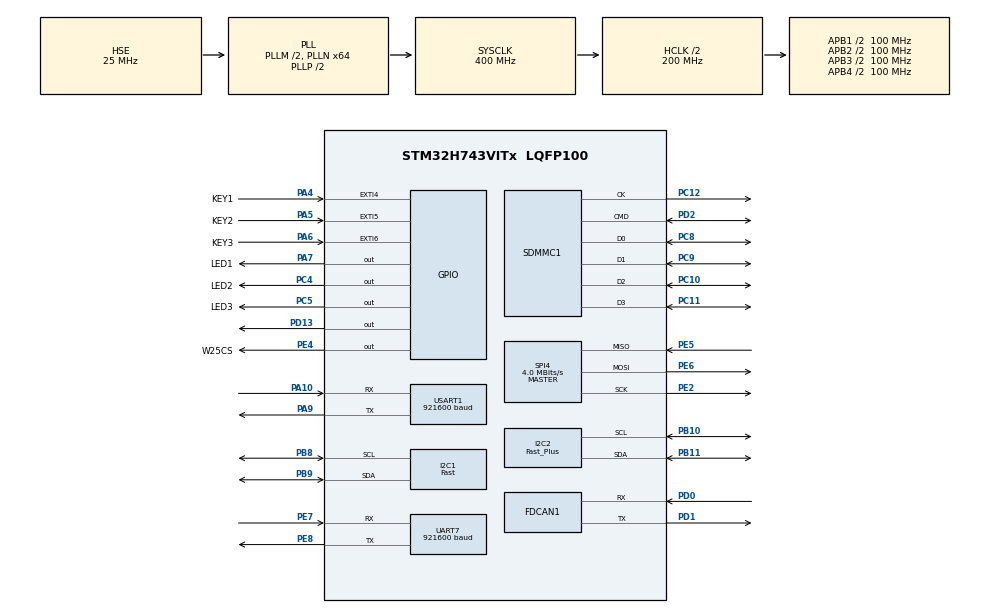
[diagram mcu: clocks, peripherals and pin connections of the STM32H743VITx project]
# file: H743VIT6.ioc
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CORTEX_M7.CPU_DCache=Enabled
CORTEX_M7.CPU_ICache=Enabled
CORTEX_M7.Enable_Spec=__NULL
CORTEX_M7.MPU_Control=__NULL
CORTEX_M7.default_mode_Activation=1
Dma.I2C1_RX.2.Direction=DMA_PERIPH_TO_MEMORY
Dma.I2C1_RX.2.EventEnable=DISABLE
Dma.I2C1_RX.2.FIFOMode=DMA_FIFOMODE_DISABLE
Dma.I2C1_RX.2.Instance=DMA1_Stream2
Dma.I2C1_RX.2.MemDataAlignment=DMA_MDATAALIGN_BYTE
Dma.I2C1_RX.2.MemInc=DMA_MINC_ENABLE
Dma.I2C1_RX.2.Mode=DMA_NORMAL
Dma.I2C1_RX.2.PeriphDataAlignment=DMA_PDATAALIGN_BYTE
Dma.I2C1_RX.2.PeriphInc=DMA_PINC_DISABLE
Dma.I2C1_RX.2.Polarity=HAL_DMAMUX_REQ_GEN_RISING
Dma.I2C1_RX.2.Priority=DMA_PRIORITY_HIGH
Dma.I2C1_RX.2.RequestNumber=1
Dma.I2C1_RX.2.SignalID=NONE
Dma.I2C1_RX.2.SyncEnable=DISABLE
Dma.I2C1_RX.2.SyncPolarity=HAL_DMAMUX_SYNC_NO_EVENT
Dma.I2C1_RX.2.SyncRequestNumber=1
Dma.I2C1_RX.2.SyncSignalID=NONE
Dma.I2C1_TX.3.Direction=DMA_MEMORY_TO_PERIPH
Dma.I2C1_TX.3.EventEnable=DISABLE
Dma.I2C1_TX.3.FIFOMode=DMA_FIFOMODE_DISABLE
Dma.I2C1_TX.3.Instance=DMA1_Stream3
Dma.I2C1_TX.3.MemDataAlignment=DMA_MDATAALIGN_BYTE
Dma.I2C1_TX.3.MemInc=DMA_MINC_ENABLE
Dma.I2C1_TX.3.Mode=DMA_NORMAL
Dma.I2C1_TX.3.PeriphDataAlignment=DMA_PDATAALIGN_BYTE
Dma.I2C1_TX.3.PeriphInc=DMA_PINC_DISABLE
Dma.I2C1_TX.3.Polarity=HAL_DMAMUX_REQ_GEN_RISING
Dma.I2C1_TX.3.Priority=DMA_PRIORITY_HIGH
Dma.I2C1_TX.3.RequestNumber=1
Dma.I2C1_TX.3.SignalID=NONE
Dma.I2C1_TX.3.SyncEnable=DISABLE
Dma.I2C1_TX.3.SyncPolarity=HAL_DMAMUX_SYNC_NO_EVENT
Dma.I2C1_TX.3.SyncRequestNumber=1
Dma.I2C1_TX.3.SyncSignalID=NONE
Dma.Request0=USART1_RX
Dma.Request1=USART1_TX
Dma.Request2=I2C1_RX
Dma.Request3=I2C1_TX
Dma.Request4=UART7_RX
Dma.Request5=UART7_TX
Dma.UART7_RX.4.Direction=DMA_PERIPH_TO_MEMORY
Dma.UART7_RX.4.EventEnable=DISABLE
Dma.UART7_RX.4.FIFOMode=DMA_FIFOMODE_DISABLE
Dma.UART7_RX.4.Instance=DMA1_Stream4
Dma.UART7_RX.4.MemDataAlignment=DMA_MDATAALIGN_BYTE
Dma.UART7_RX.4.MemInc=DMA_MINC_ENABLE
Dma.UART7_RX.4.Mode=DMA_CIRCULAR
Dma.UART7_RX.4.PeriphDataAlignment=DMA_PDATAALIGN_BYTE
Dma.UART7_RX.4.PeriphInc=DMA_PINC_DISABLE
Dma.UART7_RX.4.Polarity=HAL_DMAMUX_REQ_GEN_RISING
Dma.UART7_RX.4.Priority=DMA_PRIORITY_MEDIUM
Dma.UART7_RX.4.RequestNumber=1
Dma.UART7_RX.4.SignalID=NONE
Dma.UART7_RX.4.SyncEnable=DISABLE
Dma.UART7_RX.4.SyncPolarity=HAL_DMAMUX_SYNC_NO_EVENT
Dma.UART7_RX.4.SyncRequestNumber=1
Dma.UART7_RX.4.SyncSignalID=NONE
Dma.UART7_TX.5.Direction=DMA_MEMORY_TO_PERIPH
Dma.UART7_TX.5.EventEnable=DISABLE
Dma.UART7_TX.5.FIFOMode=DMA_FIFOMODE_DISABLE
Dma.UART7_TX.5.Instance=DMA1_Stream5
Dma.UART7_TX.5.MemDataAlignment=DMA_MDATAALIGN_BYTE
Dma.UART7_TX.5.MemInc=DMA_MINC_ENABLE
Dma.UART7_TX.5.Mode=DMA_NORMAL
Dma.UART7_TX.5.PeriphDataAlignment=DMA_PDATAALIGN_BYTE
Dma.UART7_TX.5.PeriphInc=DMA_PINC_DISABLE
Dma.UART7_TX.5.Polarity=HAL_DMAMUX_REQ_GEN_RISING
Dma.UART7_TX.5.Priority=DMA_PRIORITY_LOW
Dma.UART7_TX.5.RequestNumber=1
Dma.UART7_TX.5.SignalID=NONE
Dma.UART7_TX.5.SyncEnable=DISABLE
Dma.UART7_TX.5.SyncPolarity=HAL_DMAMUX_SYNC_NO_EVENT
Dma.UART7_TX.5.SyncRequestNumber=1
Dma.UART7_TX.5.SyncSignalID=NONE
Dma.USART1_RX.0.Direction=DMA_PERIPH_TO_MEMORY
Dma.USART1_RX.0.EventEnable=DISABLE
Dma.USART1_RX.0.FIFOMode=DMA_FIFOMODE_DISABLE
Dma.USART1_RX.0.Instance=DMA1_Stream0
Dma.USART1_RX.0.MemDataAlignment=DMA_MDATAALIGN_BYTE
Dma.USART1_RX.0.MemInc=DMA_MINC_ENABLE
Dma.USART1_RX.0.Mode=DMA_CIRCULAR
Dma.USART1_RX.0.PeriphDataAlignment=DMA_PDATAALIGN_BYTE
Dma.USART1_RX.0.PeriphInc=DMA_PINC_DISABLE
Dma.USART1_RX.0.Polarity=HAL_DMAMUX_REQ_GEN_RISING
Dma.USART1_RX.0.Priority=DMA_PRIORITY_MEDIUM
Dma.USART1_RX.0.RequestNumber=1
Dma.USART1_RX.0.SignalID=NONE
Dma.USART1_RX.0.SyncEnable=DISABLE
Dma.USART1_RX.0.SyncPolarity=HAL_DMAMUX_SYNC_NO_EVENT
Dma.USART1_RX.0.SyncRequestNumber=1
Dma.USART1_RX.0.SyncSignalID=NONE
Dma.USART1_TX.1.Direction=DMA_MEMORY_TO_PERIPH
Dma.USART1_TX.1.EventEnable=DISABLE
Dma.USART1_TX.1.FIFOMode=DMA_FIFOMODE_DISABLE
Dma.USART1_TX.1.Instance=DMA1_Stream1
Dma.USART1_TX.1.MemDataAlignment=DMA_MDATAALIGN_BYTE
Dma.USART1_TX.1.MemInc=DMA_MINC_ENABLE
Dma.USART1_TX.1.Mode=DMA_NORMAL
Dma.USART1_TX.1.PeriphDataAlignment=DMA_PDATAALIGN_BYTE
Dma.USART1_TX.1.PeriphInc=DMA_PINC_DISABLE
Dma.USART1_TX.1.Polarity=HAL_DMAMUX_REQ_GEN_RISING
Dma.USART1_TX.1.Priority=DMA_PRIORITY_LOW
Dma.USART1_TX.1.RequestNumber=1
Dma.USART1_TX.1.SignalID=NONE
Dma.USART1_TX.1.SyncEnable=DISABLE
Dma.USART1_TX.1.SyncPolarity=HAL_DMAMUX_SYNC_NO_EVENT
Dma.USART1_TX.1.SyncRequestNumber=1
Dma.USART1_TX.1.SyncSignalID=NONE
FATFS.USE_DMA_CODE_SD=1
FATFS._CODE_PAGE=936
FATFS._USE_LFN=1
FATFS._USE_MKFS=0
FDCAN1.AutoRetransmission=ENABLE
FDCAN1.CalculateBaudRateNominal=320000
FDCAN1.CalculateTimeBitNominal=3125
FDCAN1.CalculateTimeQuantumNominal=195.3125
FDCAN1.DataSyncJumpWidth=3
FDCAN1.DataTimeSeg1=12
FDCAN1.DataTimeSeg2=3
FDCAN1.FrameFormat=FDCAN_FRAME_FD_BRS
FDCAN1.NominalPrescaler=5
FDCAN1.NominalSyncJumpWidth=3
FDCAN1.NominalTimeSeg1=12
FDCAN1.NominalTimeSeg2=3
FDCAN1.RxBufferSize=FDCAN_DATA_BYTES_32
FDCAN1.RxFifo0ElmtSize=FDCAN_DATA_BYTES_32
FDCAN1.RxFifo0ElmtsNbr=8
FDCAN1.RxFifo1ElmtSize=FDCAN_DATA_BYTES_32
FDCAN1.StdFiltersNbr=8
FDCAN1.TxElmtSize=FDCAN_DATA_BYTES_32
FDCAN1.TxFifoQueueElmtsNbr=8
I2C1.I2C_Speed_Mode=I2C_Fast
I2C1.Timing=0x00300F38
I2C2.CustomTiming=Enabled
I2C2.I2C_Speed_Mode=I2C_Fast_Plus
I2C2.Timing=0x00A2192B
Mcu.Family=STM32H7
Mcu.Name=STM32H743VITx
Mcu.Package=LQFP100
NVIC.DMA1_Stream0_IRQn=true\:9\:0\:true\:false\:true\:false\:true\:true
NVIC.DMA1_Stream1_IRQn=true\:9\:0\:true\:false\:true\:false\:true\:true
NVIC.DMA1_Stream2_IRQn=true\:7\:0\:true\:false\:true\:false\:true\:true
NVIC.DMA1_Stream3_IRQn=true\:7\:0\:true\:false\:true\:false\:true\:true
NVIC.DMA1_Stream4_IRQn=true\:9\:0\:true\:false\:true\:false\:true\:true
NVIC.DMA1_Stream5_IRQn=true\:9\:0\:true\:false\:true\:false\:true\:true
NVIC.EXTI4_IRQn=true\:11\:0\:true\:false\:true\:true\:true\:true
NVIC.EXTI9_5_IRQn=true\:11\:0\:true\:false\:true\:true\:true\:true
NVIC.FDCAN1_IT0_IRQn=true\:5\:0\:true\:false\:true\:true\:true\:true
NVIC.I2C1_ER_IRQn=true\:7\:0\:true\:false\:true\:true\:true\:true
NVIC.I2C1_EV_IRQn=true\:7\:0\:true\:false\:true\:true\:true\:true
NVIC.PriorityGroup=NVIC_PRIORITYGROUP_4
NVIC.SDMMC1_IRQn=true\:6\:0\:true\:false\:true\:true\:true\:true
NVIC.TIM6_DAC_IRQn=true\:10\:0\:true\:false\:true\:true\:true\:true
NVIC.UART7_IRQn=true\:8\:0\:true\:false\:true\:true\:true\:true
NVIC.USART1_IRQn=true\:8\:0\:true\:false\:true\:true\:true\:true
PA10.GPIO_Speed=GPIO_SPEED_FREQ_VERY_HIGH
PA10.Mode=Asynchronous
PA10.Signal=USART1_RX
PA13\ (JTMS/SWDIO).Mode=Serial_Wire
PA13\ (JTMS/SWDIO).Signal=DEBUG_JTMS-SWDIO
PA14\ (JTCK/SWCLK).Mode=Serial_Wire
PA14\ (JTCK/SWCLK).Signal=DEBUG_JTCK-SWCLK
PA4.GPIO_Label=KEY1
PA4.GPIO_ModeDefaultEXTI=GPIO_MODE_IT_FALLING
PA4.GPIO_PuPd=GPIO_PULLUP
PA4.Signal=GPXTI4
PA5.GPIO_Label=KEY2
PA5.GPIO_ModeDefaultEXTI=GPIO_MODE_IT_FALLING
PA5.GPIO_PuPd=GPIO_PULLUP
PA5.Signal=GPXTI5
PA6.GPIO_Label=KEY3
PA6.GPIO_ModeDefaultEXTI=GPIO_MODE_IT_FALLING
PA6.GPIO_PuPd=GPIO_PULLUP
PA6.Signal=GPXTI6
PA7.GPIO_Label=LED1
PA7.Signal=GPIO_Output
PA9.GPIO_Speed=GPIO_SPEED_FREQ_VERY_HIGH
PA9.Mode=Asynchronous
PA9.Signal=USART1_TX
PB10.GPIO_Pu=GPIO_PULLUP
PB10.GPIO_Speed=GPIO_SPEED_FREQ_VERY_HIGH
PB10.Mode=I2C
PB10.Signal=I2C2_SCL
PB11.GPIO_Pu=GPIO_PULLUP
PB11.GPIO_Speed=GPIO_SPEED_FREQ_VERY_HIGH
PB11.Mode=I2C
PB11.Signal=I2C2_SDA
PB8.Mode=I2C
PB8.Signal=I2C1_SCL
PB9.Mode=I2C
PB9.Signal=I2C1_SDA
PC10.Mode=SD_4_bits_Wide_bus
PC10.Signal=SDMMC1_D2
PC11.Mode=SD_4_bits_Wide_bus
PC11.Signal=SDMMC1_D3
PC12.Mode=SD_4_bits_Wide_bus
PC12.Signal=SDMMC1_CK
PC4.GPIO_Label=LED2
PC4.Signal=GPIO_Output
PC5.GPIO_Label=LED3
PC5.Signal=GPIO_Output
PC8.Mode=SD_4_bits_Wide_bus
PC8.Signal=SDMMC1_D0
PC9.Mode=SD_4_bits_Wide_bus
PC9.Signal=SDMMC1_D1
PD0.GPIO_Speed=GPIO_SPEED_FREQ_VERY_HIGH
PD0.Mode=FDCAN_Activate
PD0.Signal=FDCAN1_RX
PD1.GPIO_Speed=GPIO_SPEED_FREQ_VERY_HIGH
PD1.Mode=FDCAN_Activate
PD1.Signal=FDCAN1_TX
PD13.GPIO_PuPd=GPIO_PULLUP
PD13.PinState=GPIO_PIN_SET
PD13.Signal=GPIO_Output
PD2.Mode=SD_4_bits_Wide_bus
PD2.Signal=SDMMC1_CMD
PE2.GPIO_Speed=GPIO_SPEED_FREQ_VERY_HIGH
PE2.Mode=Full_Duplex_Master
PE2.Signal=SPI4_SCK
PE4.GPIO_Label=W25CS
PE4.GPIO_PuPd=GPIO_PULLUP
PE4.GPIO_Speed=GPIO_SPEED_FREQ_VERY_HIGH
PE4.PinState=GPIO_PIN_SET
PE4.Signal=GPIO_Output
PE5.GPIO_PuPd=GPIO_PULLUP
PE5.GPIO_Speed=GPIO_SPEED_FREQ_VERY_HIGH
PE5.Mode=Full_Duplex_Master
PE5.Signal=SPI4_MISO
PE6.GPIO_Speed=GPIO_SPEED_FREQ_VERY_HIGH
PE6.Mode=Full_Duplex_Master
PE6.Signal=SPI4_MOSI
PE7.Mode=Asynchronous
PE7.Signal=UART7_RX
PE8.Mode=Asynchronous
PE8.Signal=UART7_TX
PH0-OSC_IN\ (PH0).Mode=HSE-External-Oscillator
PH0-OSC_IN\ (PH0).Signal=RCC_OSC_IN
PH1-OSC_OUT\ (PH1).Mode=HSE-External-Oscillator
PH1-OSC_OUT\ (PH1).Signal=RCC_OSC_OUT
ProjectManager.HeapSize=0x800
ProjectManager.StackSize=0x800
ProjectManager.TargetToolchain=MDK-ARM V5.32
RCC.ADCFreq_Value=160000000
RCC.APB1Freq_Value=100000000
RCC.APB2Freq_Value=100000000
RCC.APB3Freq_Value=100000000
RCC.APB4Freq_Value=100000000
RCC.CortexFreq_Value=400000000
RCC.D1PPRE=RCC_APB3_DIV2
RCC.D2PPRE1=RCC_APB1_DIV2
RCC.D2PPRE2=RCC_APB2_DIV2
RCC.D3PPRE=RCC_APB4_DIV2
RCC.DIVM1=2
RCC.DIVM2=5
RCC.DIVM3=5
RCC.DIVN1=64
RCC.DIVN2=64
RCC.DIVN3=64
RCC.DIVQ1=4
RCC.DIVQ2=4
RCC.DIVQ3=4
RCC.DIVR2=4
RCC.DIVR3=4
RCC.FDCANCLockSelection=RCC_FDCANCLKSOURCE_PLL2
RCC.HCLKFreq_Value=200000000
RCC.HPRE=RCC_HCLK_DIV2
RCC.HSE_VALUE=25000000
RCC.PLL2FRACN=0
RCC.PLL3FRACN=0
RCC.PLLFRACN=0
RCC.PLLSourceVirtual=RCC_PLLSOURCE_HSE
RCC.SYSCLKFreq_VALUE=400000000
RCC.SYSCLKSource=RCC_SYSCLKSOURCE_PLLCLK
RCC.USBFreq_Value=200000000
SDMMC1.ClockDiv=4
SPI4.BaudRatePrescaler=SPI_BAUDRATEPRESCALER_8
SPI4.CalculateBaudRate=4.0 MBits/s
SPI4.DataSize=SPI_DATASIZE_8BIT
SPI4.Direction=SPI_DIRECTION_2LINES
SPI4.Mode=SPI_MODE_MASTER
SPI4.VirtualType=VM_MASTER
STMicroelectronics.X-CUBE-AI.10.2.0.ActivationBufferSizeList=17120,149148
STMicroelectronics.X-CUBE-AI.10.2.0.ActivationBuffers=pool0;pool0
STMicroelectronics.X-CUBE-AI.10.2.0.ActivationNames=pool0
STMicroelectronics.X-CUBE-AI.10.2.0.ActivationSizes=AI_ACT_POLICY_DATA_ACTIVATION_1_SIZE
STMicroelectronics.X-CUBE-AI.10.2.0.ApplicationCcDeviceJjApplication=ApplicationTemplate
STMicroelectronics.X-CUBE-AI.10.2.0.HeapSize=0x800
STMicroelectronics.X-CUBE-AI.10.2.0.InternalRamActivationBufferMaxSize=AI_ACT_POLICY_DATA_ACTIVATIONS_SIZE
STMicroelectronics.X-CUBE-AI.10.2.0.LatestDirectoryUsed-4de2569ab50133efc36264baac34ea44c135ea182cf30835cf49a706bbea2f03=D\:\\STM32Cube_project\\4.8\\H743VIT6_ACT\\.ai
STMicroelectronics.X-CUBE-AI.10.2.0.LatestDirectoryUsed-524d64243270e118e5d383669e696832f39442fd7b19be863bbddf98e79c15ef=D\:\\STM32Cube_project\\4.8\\H743VIT6_ACT\\Training\\exported_cnn_total_plus_edge_weighted
STMicroelectronics.X-CUBE-AI.10.2.0.MaximumNumberOfInputLayer=2
STMicroelectronics.X-CUBE-AI.10.2.0.MaximumNumberOfOutputLayer=1
STMicroelectronics.X-CUBE-AI.10.2.0.MaximumSizeOfInputLayer=1,1
STMicroelectronics.X-CUBE-AI.10.2.0.MaximumSizeOfOutputLayer=1
STMicroelectronics.X-CUBE-AI.10.2.0.ModelActualCompression-4de2569ab50133efc36264baac34ea44c135ea182cf30835cf49a706bbea2f03=0.0
STMicroelectronics.X-CUBE-AI.10.2.0.ModelActualCompression-524d64243270e118e5d383669e696832f39442fd7b19be863bbddf98e79c15ef=0.0
STMicroelectronics.X-CUBE-AI.10.2.0.ModelCompression-4de2569ab50133efc36264baac34ea44c135ea182cf30835cf49a706bbea2f03=None
STMicroelectronics.X-CUBE-AI.10.2.0.ModelCompression-524d64243270e118e5d383669e696832f39442fd7b19be863bbddf98e79c15ef=None
STMicroelectronics.X-CUBE-AI.10.2.0.ModelFlashOccupation-4de2569ab50133efc36264baac34ea44c135ea182cf30835cf49a706bbea2f03=764909
STMicroelectronics.X-CUBE-AI.10.2.0.ModelFlashOccupation-524d64243270e118e5d383669e696832f39442fd7b19be863bbddf98e79c15ef=101668
STMicroelectronics.X-CUBE-AI.10.2.0.ModelHashList=524d64243270e118e5d383669e696832f39442fd7b19be863bbddf98e79c15ef;4de2569ab50133efc36264baac34ea44c135ea182cf30835cf49a706bbea2f03
STMicroelectronics.X-CUBE-AI.10.2.0.ModelKind-4de2569ab50133efc36264baac34ea44c135ea182cf30835cf49a706bbea2f03=ONNX
STMicroelectronics.X-CUBE-AI.10.2.0.ModelKind-524d64243270e118e5d383669e696832f39442fd7b19be863bbddf98e79c15ef=ONNX
STMicroelectronics.X-CUBE-AI.10.2.0.ModelMacc-4de2569ab50133efc36264baac34ea44c135ea182cf30835cf49a706bbea2f03=8535572
STMicroelectronics.X-CUBE-AI.10.2.0.ModelMacc-524d64243270e118e5d383669e696832f39442fd7b19be863bbddf98e79c15ef=1317931
STMicroelectronics.X-CUBE-AI.10.2.0.ModelName-4de2569ab50133efc36264baac34ea44c135ea182cf30835cf49a706bbea2f03=act_policy
STMicroelectronics.X-CUBE-AI.10.2.0.ModelName-524d64243270e118e5d383669e696832f39442fd7b19be863bbddf98e79c15ef=gesture_openness
STMicroelectronics.X-CUBE-AI.10.2.0.ModelNameList=gesture_openness,act_policy
STMicroelectronics.X-CUBE-AI.10.2.0.ModelRamOccupation-4de2569ab50133efc36264baac34ea44c135ea182cf30835cf49a706bbea2f03=149148
STMicroelectronics.X-CUBE-AI.10.2.0.ModelRamOccupation-524d64243270e118e5d383669e696832f39442fd7b19be863bbddf98e79c15ef=17120
STMicroelectronics.X-CUBE-AI.10.2.0.ModelStructureFile-4de2569ab50133efc36264baac34ea44c135ea182cf30835cf49a706bbea2f03=.ai/delta_tcn_scene6_epoch010.onnx
STMicroelectronics.X-CUBE-AI.10.2.0.ModelStructureFile-524d64243270e118e5d383669e696832f39442fd7b19be863bbddf98e79c15ef=Training/exported_cnn_total_plus_edge_weighted/gesture_openness_cnn.onnx
STMicroelectronics.X-CUBE-AI.10.2.0.ModelType-4de2569ab50133efc36264baac34ea44c135ea182cf30835cf49a706bbea2f03=STM32Cube.AI MCU runtime
STMicroelectronics.X-CUBE-AI.10.2.0.ModelType-524d64243270e118e5d383669e696832f39442fd7b19be863bbddf98e79c15ef=STM32Cube.AI MCU runtime
STMicroelectronics.X-CUBE-AI.10.2.0.ReadyForCodeGeneration=true
STMicroelectronics.X-CUBE-AI.10.2.0.StackSize=0x800
STMicroelectronics.X-CUBE-AI.10.2.0.WorkingBufferStartAddrList=0xFFFFFFFF,0xFFFFFFFF
STMicroelectronics.X-CUBE-AI.10.2.0.XAaCUBEAaAICcArtificialOoIntelligenceJjCore=true
STMicroelectronics.X-CUBE-AI.10.2.0.copyWeightToRam=false
STMicroelectronics.X-CUBE-AI.10.2.0.copyWeightToRam-4de2569ab50133efc36264baac34ea44c135ea182cf30835cf49a706bbea2f03=false
STMicroelectronics.X-CUBE-AI.10.2.0.copyWeightToRam-524d64243270e118e5d383669e696832f39442fd7b19be863bbddf98e79c15ef=false
STMicroelectronics.X-CUBE-AI.10.2.0.customLayerConfigEnabled=false
STMicroelectronics.X-CUBE-AI.10.2.0.customLayerConfigEnabled-4de2569ab50133efc36264baac34ea44c135ea182cf30835cf49a706bbea2f03=false
STMicroelectronics.X-CUBE-AI.10.2.0.customLayerConfigEnabled-524d64243270e118e5d383669e696832f39442fd7b19be863bbddf98e79c15ef=false
STMicroelectronics.X-CUBE-AI.10.2.0.noOnnxIoTranspose=false
STMicroelectronics.X-CUBE-AI.10.2.0.noOnnxIoTranspose-4de2569ab50133efc36264baac34ea44c135ea182cf30835cf49a706bbea2f03=false
STMicroelectronics.X-CUBE-AI.10.2.0.noOnnxIoTranspose-524d64243270e118e5d383669e696832f39442fd7b19be863bbddf98e79c15ef=false
STMicroelectronics.X-CUBE-AI.10.2.0.useInputAllocation=true
STMicroelectronics.X-CUBE-AI.10.2.0.useInputAllocation-4de2569ab50133efc36264baac34ea44c135ea182cf30835cf49a706bbea2f03=true
STMicroelectronics.X-CUBE-AI.10.2.0.useInputAllocation-524d64243270e118e5d383669e696832f39442fd7b19be863bbddf98e79c15ef=true
STMicroelectronics.X-CUBE-AI.10.2.0.useOutputAllocation=true
STMicroelectronics.X-CUBE-AI.10.2.0.useOutputAllocation-4de2569ab50133efc36264baac34ea44c135ea182cf30835cf49a706bbea2f03=true
STMicroelectronics.X-CUBE-AI.10.2.0.useOutputAllocation-524d64243270e118e5d383669e696832f39442fd7b19be863bbddf98e79c15ef=true
TIM6.Period=999
TIM6.Prescaler=199
UART7.BaudRate=921600
UART7.VirtualMode-Asynchronous=VM_ASYNC
USART1.BaudRate=921600
USART1.VirtualMode-Asynchronous=VM_ASYNC
VP_CRC_VS_CRC.Mode=CRC_Activate
VP_FATFS_VS_SDIO.Mode=SDIO
VP_MEMORYMAP_VS_MEMORYMAP.Mode=CurAppReg
VP_STMicroelectronics.X-CUBE-AI_VS_ArtificialOoIntelligenceJjXAaCUBEAaAI_10.2.0.Mode=ArtificialOoIntelligenceJjXAaCUBEAaAI
VP_STMicroelectronics.X-CUBE-AI_VS_DeviceJjApplication_10.2.0.Mode=DeviceJjApplication
VP_TIM6_VS_ClockSourceINT.Mode=Enable_Timer
board=custom

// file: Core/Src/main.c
/* USER CODE BEGIN Header */
/**
  ******************************************************************************
  * @file           : main.c
  * @brief          : Main program body
  ******************************************************************************
  * @attention
  *
  * Copyright (c) 2026 STMicroelectronics.
  * All rights reserved.
  *
  * This software is licensed under terms that can be found in the LICENSE file
  * in the root directory of this software component.
  * If no LICENSE file comes with this software, it is provided AS-IS.
  *
  ******************************************************************************
  */
/* USER CODE END Header */
#include "main.h"
#include "crc.h"
#include "dma.h"
#include "fatfs.h"
#include "fdcan.h"
#include "i2c.h"
#include "sdmmc.h"
#include "spi.h"
#include "tim.h"
#include "usart.h"
#include "gpio.h"
#include "app_x-cube-ai.h"

/* USER CODE BEGIN Includes */
  #include "act_policy_app.h"
  #include "act_stream.h"
  #include "can_app.h"
  #include "motor_control_app.h"
  #include "vl53_app.h"
  #include "vofa.h"
  #include "w25q64_app.h"

/* USER CODE END Includes */

/* USER CODE BEGIN PD */
#define APP_KEY_DEBOUNCE_MS 200U
#define APP_LED_ON          GPIO_PIN_RESET
#define APP_LED_OFF         GPIO_PIN_SET

#ifndef LED1_Pin
#define LED1_Pin GPIO_PIN_13
#define LED1_GPIO_Port GPIOE
#endif

#ifndef LED2_Pin
#define LED2_Pin GPIO_PIN_14
#define LED2_GPIO_Port GPIOE
#endif

#ifndef LED3_Pin
#define LED3_Pin GPIO_PIN_15
#define LED3_GPIO_Port GPIOE
#endif

/* USER CODE END PD */

void SystemClock_Config(void);

int main(void)
{

  /* Enable the CPU Cache */

  /* Enable I-Cache---------------------------------------------------------*/
  SCB_EnableICache();

  /* Enable D-Cache---------------------------------------------------------*/
  SCB_EnableDCache();

  /* MCU Configuration--------------------------------------------------------*/

  /* Reset of all peripherals, Initializes the Flash interface and the Systick. */
  HAL_Init();

  /* Configure the system clock */
  SystemClock_Config();

  /* Initialize all configured peripherals */
  MX_GPIO_Init();
  MX_DMA_Init();
  MX_USART1_UART_Init();
  MX_UART7_Init();
  MX_I2C1_Init();
  MX_FDCAN1_Init();
  MX_SDMMC1_SD_Init();
  MX_FATFS_Init();
  MX_TIM6_Init();
  MX_CRC_Init();
  MX_SPI4_Init();
  MX_I2C2_Init();
  MX_X_CUBE_AI_Init();
  /* USER CODE BEGIN 2 */
  (void)Can_App_Init();
  MotorControl_Init();

  (void)VL53_App_Init();
  (void)VL53_App_SetMode(VL53_APP_MODE_INFER);
  Vofa_Init();
  Act_Stream_Init();

  /* USER CODE END 2 */

  /* Infinite loop */
  while (1)
  {

  MX_X_CUBE_AI_Process();
    /* USER CODE BEGIN 3 */
    VL53_App_Task();
    Can_App_Task();
    Act_Stream_Task();
    Vofa_Task();
    MotorControl_Task();
    /* ACT仅由新VL53帧触发推理，不能放入中断。 */
    ActPolicyApp_Task();

    /* W25后台任务优先级最低，每次只推进一步，不等待扇区擦除完成。 */
    W25Q64_App_Task();
  }
  /* USER CODE END 3 */
}

void SystemClock_Config(void)
{
  RCC_OscInitTypeDef RCC_OscInitStruct = {0};
  RCC_ClkInitTypeDef RCC_ClkInitStruct = {0};

  /** Supply configuration update enable
  */
  HAL_PWREx_ConfigSupply(PWR_LDO_SUPPLY);

  /** Configure the main internal regulator output voltage
  */
  __HAL_PWR_VOLTAGESCALING_CONFIG(PWR_REGULATOR_VOLTAGE_SCALE1);

  while(!__HAL_PWR_GET_FLAG(PWR_FLAG_VOSRDY)) {}

  /** Initializes the RCC Oscillators according to the specified parameters
  * in the RCC_OscInitTypeDef structure.
  */
  RCC_OscInitStruct.OscillatorType = RCC_OSCILLATORTYPE_HSE;
  RCC_OscInitStruct.HSEState = RCC_HSE_ON;
  RCC_OscInitStruct.PLL.PLLState = RCC_PLL_ON;
  RCC_OscInitStruct.PLL.PLLSource = RCC_PLLSOURCE_HSE;
  RCC_OscInitStruct.PLL.PLLM = 2;
  RCC_OscInitStruct.PLL.PLLN = 64;
  RCC_OscInitStruct.PLL.PLLP = 2;
  RCC_OscInitStruct.PLL.PLLQ = 4;
  RCC_OscInitStruct.PLL.PLLR = 2;
  RCC_OscInitStruct.PLL.PLLRGE = RCC_PLL1VCIRANGE_3;
  RCC_OscInitStruct.PLL.PLLVCOSEL = RCC_PLL1VCOWIDE;
  RCC_OscInitStruct.PLL.PLLFRACN = 0;
  if (HAL_RCC_OscConfig(&RCC_OscInitStruct) != HAL_OK)
  {
    Error_Handler();
  }

  /** Initializes the CPU, AHB and APB buses clocks
  */
  RCC_ClkInitStruct.ClockType = RCC_CLOCKTYPE_HCLK|RCC_CLOCKTYPE_SYSCLK
                              |RCC_CLOCKTYPE_PCLK1|RCC_CLOCKTYPE_PCLK2
                              |RCC_CLOCKTYPE_D3PCLK1|RCC_CLOCKTYPE_D1PCLK1;
  RCC_ClkInitStruct.SYSCLKSource = RCC_SYSCLKSOURCE_PLLCLK;
  RCC_ClkInitStruct.SYSCLKDivider = RCC_SYSCLK_DIV1;
  RCC_ClkInitStruct.AHBCLKDivider = RCC_HCLK_DIV2;
  RCC_ClkInitStruct.APB3CLKDivider = RCC_APB3_DIV2;
  RCC_ClkInitStruct.APB1CLKDivider = RCC_APB1_DIV2;
  RCC_ClkInitStruct.APB2CLKDivider = RCC_APB2_DIV2;
  RCC_ClkInitStruct.APB4CLKDivider = RCC_APB4_DIV2;

  if (HAL_RCC_ClockConfig(&RCC_ClkInitStruct, FLASH_LATENCY_2) != HAL_OK)
  {
    Error_Handler();
  }
}

void Error_Handler(void)
{
  __disable_irq();
  while (1)
  {
  }
}
